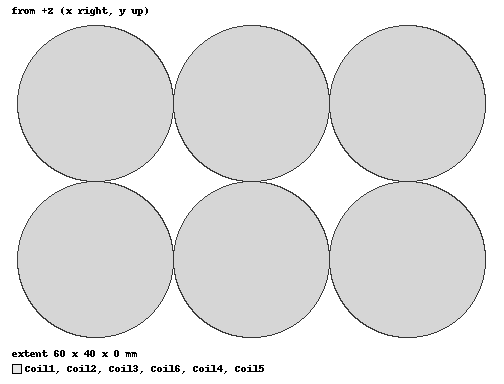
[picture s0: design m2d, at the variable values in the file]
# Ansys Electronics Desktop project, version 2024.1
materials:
  vacuum: permittivity=1

design m2d (Maxwell 2D, EddyCurrent, XY geometry, model units mm)
options: ModelDepth=1meter
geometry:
  Coil1 [vacuum] = circle(normal=Z, centre=(0mm, 0mm, 0mm), radius=10mm)
  Coil2 [vacuum] = circle(normal=Z, centre=(10mm, 0mm, 0mm), radius=10mm)
  Coil3 [vacuum] = circle(normal=Z, centre=(-10mm, 0mm, 0mm), radius=10mm)
  Coil2.move(10mm, 0mm, 0mm)
  Coil3.move(-10mm, 0mm, 0mm)
  Coil4 [vacuum] = circle(normal=Z, centre=(-10mm, 0mm, 0mm), radius=10mm)
  Coil4.move(-10mm, 20mm, 0mm)
  Coil5 [vacuum] = circle(normal=Z, centre=(10mm, 0mm, 0mm), radius=10mm)
  Coil5.move(10mm, 20mm, 0mm)
  Coil6 [vacuum] = circle(normal=Z, centre=(0mm, 0mm, 0mm), radius=10mm)
  Coil6.move(0mm, 20mm, 0mm)
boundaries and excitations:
  Coil_QDNQUJ: Coil Objects=Coil1 Conductor_number=1 Winding=-1 PolarityType=Positive
  Coil_L88EO0: Coil Objects=Coil2 Conductor_number=1 Winding=-1 PolarityType=Positive
  Coil_DQWEMN: Coil Objects=Coil3 Conductor_number=1 Winding=-1 PolarityType=Positive
  Coil_RUKBLQ: Coil Objects=Coil1 Conductor_number=1 Winding=Winding1 PolarityType=Positive
  Coil_A22MAD: Coil Objects=Coil2 Conductor_number=1 Winding=Winding2 PolarityType=Positive
  Coil_ZT5ET5: Coil Objects=Coil3 Conductor_number=1 Winding=Winding3 PolarityType=Positive
  Coil_DQWEMN1: Coil Objects=Coil4 Conductor_number=1 Winding=Winding4 PolarityType=Positive
  Coil_A22MAD1: Coil Objects=Coil5 Conductor_number=1 Winding=Winding4 PolarityType=Positive
  Coil_QDNQUJ1: Coil Objects=Coil6 Conductor_number=1 Winding=Winding4 PolarityType=Positive
  Winding1: Winding Group Type=External IsSolid=true Current=0mA ParallelBranchesNum=1 Phase=0deg
  Winding2: Winding Group Type=External IsSolid=true Current=0mA ParallelBranchesNum=1 Phase=0deg
  Winding3: Winding Group Type=External IsSolid=true Current=0mA ParallelBranchesNum=1 Phase=0deg
  Winding4: Winding Group Type=Current IsSolid=true Current=1mA ParallelBranchesNum=1 Phase=0deg
